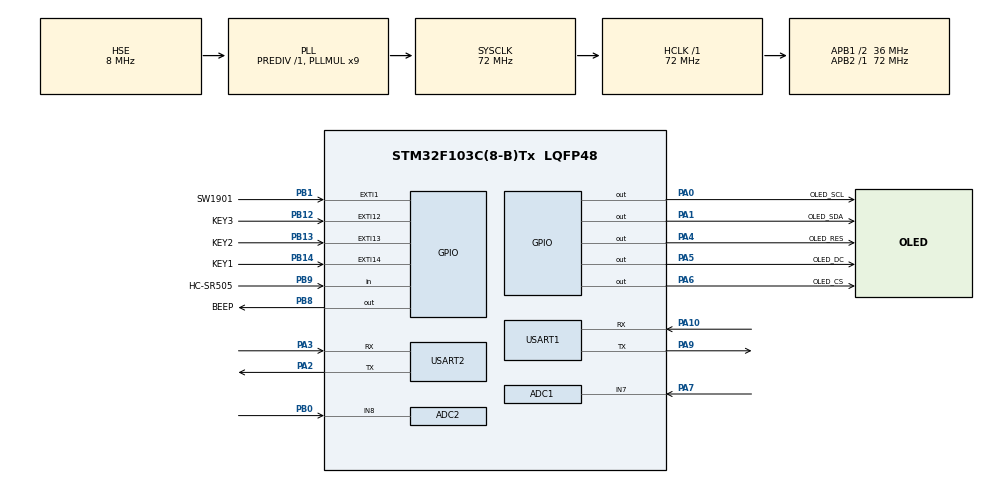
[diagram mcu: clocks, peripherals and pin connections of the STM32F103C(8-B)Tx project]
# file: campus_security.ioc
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ADC1.Channel-1\#ChannelRegularConversion=ADC_CHANNEL_7
ADC1.NbrOfConversionFlag=1
ADC1.Rank-1\#ChannelRegularConversion=1
ADC1.SamplingTime-1\#ChannelRegularConversion=ADC_SAMPLETIME_1CYCLE_5
ADC1.master=1
ADC2.Channel-0\#ChannelRegularConversion=ADC_CHANNEL_8
ADC2.NbrOfConversionFlag=1
ADC2.Rank-0\#ChannelRegularConversion=1
ADC2.SamplingTime-0\#ChannelRegularConversion=ADC_SAMPLETIME_1CYCLE_5
Mcu.Family=STM32F1
Mcu.Name=STM32F103C(8-B)Tx
Mcu.Package=LQFP48
NVIC.EXTI15_10_IRQn=true\:0\:0\:false\:false\:true\:true\:true\:true
NVIC.EXTI1_IRQn=true\:0\:0\:false\:false\:true\:true\:true\:true
NVIC.PriorityGroup=NVIC_PRIORITYGROUP_4
PA0-WKUP.GPIO_Label=OLED_SCL
PA0-WKUP.GPIO_PuPd=GPIO_PULLUP
PA0-WKUP.GPIO_Speed=GPIO_SPEED_FREQ_HIGH
PA0-WKUP.PinState=GPIO_PIN_SET
PA0-WKUP.Signal=GPIO_Output
PA1.GPIO_Label=OLED_SDA
PA1.GPIO_ModeDefaultOutputPP=GPIO_MODE_OUTPUT_PP
PA1.GPIO_PuPd=GPIO_PULLUP
PA1.GPIO_Speed=GPIO_SPEED_FREQ_HIGH
PA1.PinState=GPIO_PIN_SET
PA1.Signal=GPIO_Output
PA10.Mode=Asynchronous
PA10.Signal=USART1_RX
PA13.Mode=Serial_Wire
PA13.Signal=SYS_JTMS-SWDIO
PA14.Mode=Serial_Wire
PA14.Signal=SYS_JTCK-SWCLK
PA2.Mode=Asynchronous
PA2.Signal=USART2_TX
PA3.Mode=Asynchronous
PA3.Signal=USART2_RX
PA4.GPIO_Label=OLED_RES
PA4.GPIO_ModeDefaultOutputPP=GPIO_MODE_OUTPUT_PP
PA4.GPIO_PuPd=GPIO_PULLUP
PA4.GPIO_Speed=GPIO_SPEED_FREQ_HIGH
PA4.PinState=GPIO_PIN_SET
PA4.Signal=GPIO_Output
PA5.GPIO_Label=OLED_DC
PA5.GPIO_PuPd=GPIO_PULLUP
PA5.GPIO_Speed=GPIO_SPEED_FREQ_HIGH
PA5.PinState=GPIO_PIN_SET
PA5.Signal=GPIO_Output
PA6.GPIO_Label=OLED_CS
PA6.GPIO_ModeDefaultOutputPP=GPIO_MODE_OUTPUT_PP
PA6.GPIO_PuPd=GPIO_PULLUP
PA6.GPIO_Speed=GPIO_SPEED_FREQ_HIGH
PA6.PinState=GPIO_PIN_SET
PA6.Signal=GPIO_Output
PA7.Signal=ADCx_IN7
PA9.Mode=Asynchronous
PA9.Signal=USART1_TX
PB0.Signal=ADCx_IN8
PB1.GPIO_Label=SW1901
PB1.GPIO_ModeDefaultEXTI=GPIO_MODE_IT_RISING
PB1.GPIO_PuPd=GPIO_PULLDOWN
PB1.Signal=GPXTI1
PB12.GPIO_Label=KEY3
PB12.GPIO_ModeDefaultEXTI=GPIO_MODE_IT_FALLING
PB12.GPIO_PuPd=GPIO_PULLUP
PB12.Signal=GPXTI12
PB13.GPIO_Label=KEY2
PB13.GPIO_ModeDefaultEXTI=GPIO_MODE_IT_FALLING
PB13.GPIO_PuPd=GPIO_PULLUP
PB13.Signal=GPXTI13
PB14.GPIO_Label=KEY1
PB14.GPIO_ModeDefaultEXTI=GPIO_MODE_IT_FALLING
PB14.GPIO_PuPd=GPIO_PULLUP
PB14.Signal=GPXTI14
PB8.GPIO_Label=BEEP
PB8.GPIO_ModeDefaultOutputPP=GPIO_MODE_OUTPUT_PP
PB8.GPIO_PuPd=GPIO_PULLUP
PB8.GPIO_Speed=GPIO_SPEED_FREQ_HIGH
PB8.PinState=GPIO_PIN_SET
PB8.Signal=GPIO_Output
PB9.GPIO_Label=HC-SR505
PB9.GPIO_Mode=GPIO_MODE_INPUT
PB9.GPIO_PuPd=GPIO_PULLDOWN
PB9.Signal=GPIO_Input
PD0-OSC_IN.Mode=HSE-External-Oscillator
PD0-OSC_IN.Signal=RCC_OSC_IN
PD1-OSC_OUT.Mode=HSE-External-Oscillator
PD1-OSC_OUT.Signal=RCC_OSC_OUT
ProjectManager.HeapSize=0x200
ProjectManager.StackSize=0x400
ProjectManager.TargetToolchain=MDK-ARM V5.32
RCC.ADCPresc=RCC_ADCPCLK2_DIV6
RCC.AHBFreq_Value=72000000
RCC.APB1CLKDivider=RCC_HCLK_DIV2
RCC.APB1Freq_Value=36000000
RCC.APB1TimFreq_Value=72000000
RCC.APB2Freq_Value=72000000
RCC.APB2TimFreq_Value=72000000
RCC.HCLKFreq_Value=72000000
RCC.PLLMUL=RCC_PLL_MUL9
RCC.PLLSourceVirtual=RCC_PLLSOURCE_HSE
RCC.SYSCLKFreq_VALUE=72000000
RCC.SYSCLKSource=RCC_SYSCLKSOURCE_PLLCLK
RCC.USBFreq_Value=72000000
SH.ADCx_IN7.0=ADC1_IN7,IN7
SH.ADCx_IN8.0=ADC2_IN8,IN8
USART1.VirtualMode=VM_ASYNC
USART2.VirtualMode=VM_ASYNC
board=custom

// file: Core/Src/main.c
/* USER CODE BEGIN Header */
/**
  ******************************************************************************
  * @file           : main.c
  * @brief          : Main program body
  ******************************************************************************
  * @attention
  *
  * Copyright (c) 2025 STMicroelectronics.
  * All rights reserved.
  *
  * This software is licensed under terms that can be found in the LICENSE file
  * in the root directory of this software component.
  * If no LICENSE file comes with this software, it is provided AS-IS.
  *
  ******************************************************************************
  */
/* USER CODE END Header */
#include "main.h"
#include "adc.h"
#include "usart.h"
#include "gpio.h"

/* USER CODE BEGIN Includes */
#include "stdio.h"
#include "ui_setting.h"

float fire_ban = 2.0;
float smoke_ban = 0.4;

uint8_t danger_sounde[9]={0xFD,0x00,0x06,0x01,0x01,0xCE,0xA3,0xCF,0xD5};
/* USER CODE END Includes */

void SystemClock_Config(void);

int main(void)
{

  /* USER CODE BEGIN 1 */
	static int i_count=0,sw_count=0;
  float fire_fl,smoke_f1;
	uint16_t fire_16 = 0,smoke_16 = 0;
	char huoguang[20],smoke[20];
  /* USER CODE END 1 */

  /* MCU Configuration--------------------------------------------------------*/

  /* Reset of all peripherals, Initializes the Flash interface and the Systick. */
  HAL_Init();

  /* Configure the system clock */
  SystemClock_Config();

  /* Initialize all configured peripherals */
  MX_GPIO_Init();
  MX_ADC1_Init();
  MX_ADC2_Init();
  MX_USART1_UART_Init();
  MX_USART2_UART_Init();
  /* USER CODE BEGIN 2 */
	OLED_Init();
	OLED_ColorTurn(0);
  OLED_DisplayTurn(0);
	OLED_Clear();

//	OLED_ShowString(1,1,(uint8_t*)"hello",8,1);
//	OLED_Refresh();
  /* USER CODE END 2 */

  /* Infinite loop */
  while (1)
  {

    /* USER CODE BEGIN 3 */

			  i_count=0;
				HAL_ADC_Start(&hadc1);     //read fire
				HAL_ADC_PollForConversion(&hadc1,10);
				fire_16 = (uint16_t)HAL_ADC_GetValue(&hadc1);
				fire_fl = (float)fire_16*3.3/4096;
				sprintf(huoguang,"Fire:%.2f",fire_fl);
				OLED_ShowString(1,1,(uint8_t*)huoguang,16,1);

				HAL_ADC_Start(&hadc2);     //read smoke
				HAL_ADC_PollForConversion(&hadc2,10);
				smoke_16 = (uint16_t)HAL_ADC_GetValue(&hadc2);
				smoke_f1 = (float)smoke_16*3.3/4096;
				sprintf(smoke,"Smoke:%.2f",smoke_f1);
				OLED_ShowString(1,20,(uint8_t*)smoke,16,1);
				OLED_Refresh();

				 HAL_Delay(1000);

		if((fire_fl<fire_ban)||(smoke_f1>smoke_ban))
		{
			  uart1_send_messageCALL();
			HAL_UART_Transmit(&huart2,danger_sounde,9,0xffff);
			  HAL_Delay(2000);
		}

		if(HAL_GPIO_ReadPin(HC_SR505_GPIO_Port,HC_SR505_Pin)==GPIO_PIN_SET)
		{
				HAL_Delay(100);
			  		if(HAL_GPIO_ReadPin(HC_SR505_GPIO_Port,HC_SR505_Pin)==GPIO_PIN_SET)
						{
								HAL_GPIO_WritePin(BEEP_GPIO_Port, BEEP_Pin, GPIO_PIN_RESET);
						}
		}
		else
		{
					HAL_GPIO_WritePin(BEEP_GPIO_Port, BEEP_Pin, GPIO_PIN_SET);
		}

		if(sw19_come)
		{
				sw_count++;
			  if(sw_count/10000000)
				{
					  sw_count=0;
					  sw19_come = false;
					  HAL_GPIO_WritePin(BEEP_GPIO_Port, BEEP_Pin, GPIO_PIN_SET);
				}
		}

		if(botton==MIDLE)
		{
				botton = UNPRESS;
			  OLED_Clear();
			  ui_setting();
		}

  }
  /* USER CODE END 3 */
}

void SystemClock_Config(void)
{
  RCC_OscInitTypeDef RCC_OscInitStruct = {0};
  RCC_ClkInitTypeDef RCC_ClkInitStruct = {0};
  RCC_PeriphCLKInitTypeDef PeriphClkInit = {0};

  /** Initializes the RCC Oscillators according to the specified parameters
  * in the RCC_OscInitTypeDef structure.
  */
  RCC_OscInitStruct.OscillatorType = RCC_OSCILLATORTYPE_HSE;
  RCC_OscInitStruct.HSEState = RCC_HSE_ON;
  RCC_OscInitStruct.HSEPredivValue = RCC_HSE_PREDIV_DIV1;
  RCC_OscInitStruct.HSIState = RCC_HSI_ON;
  RCC_OscInitStruct.PLL.PLLState = RCC_PLL_ON;
  RCC_OscInitStruct.PLL.PLLSource = RCC_PLLSOURCE_HSE;
  RCC_OscInitStruct.PLL.PLLMUL = RCC_PLL_MUL9;
  if (HAL_RCC_OscConfig(&RCC_OscInitStruct) != HAL_OK)
  {
    Error_Handler();
  }

  /** Initializes the CPU, AHB and APB buses clocks
  */
  RCC_ClkInitStruct.ClockType = RCC_CLOCKTYPE_HCLK|RCC_CLOCKTYPE_SYSCLK
                              |RCC_CLOCKTYPE_PCLK1|RCC_CLOCKTYPE_PCLK2;
  RCC_ClkInitStruct.SYSCLKSource = RCC_SYSCLKSOURCE_PLLCLK;
  RCC_ClkInitStruct.AHBCLKDivider = RCC_SYSCLK_DIV1;
  RCC_ClkInitStruct.APB1CLKDivider = RCC_HCLK_DIV2;
  RCC_ClkInitStruct.APB2CLKDivider = RCC_HCLK_DIV1;

  if (HAL_RCC_ClockConfig(&RCC_ClkInitStruct, FLASH_LATENCY_2) != HAL_OK)
  {
    Error_Handler();
  }
  PeriphClkInit.PeriphClockSelection = RCC_PERIPHCLK_ADC;
  PeriphClkInit.AdcClockSelection = RCC_ADCPCLK2_DIV6;
  if (HAL_RCCEx_PeriphCLKConfig(&PeriphClkInit) != HAL_OK)
  {
    Error_Handler();
  }
}

void Error_Handler(void)
{
  __disable_irq();
  while (1)
  {
  }
}
